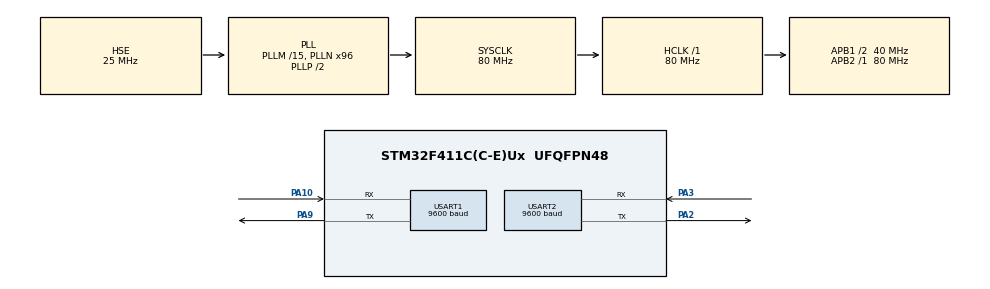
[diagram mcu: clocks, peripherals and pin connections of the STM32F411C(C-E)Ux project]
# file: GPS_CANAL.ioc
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Dma.Request0=USART1_RX
Dma.Request1=USART2_RX
Dma.USART1_RX.0.Direction=DMA_PERIPH_TO_MEMORY
Dma.USART1_RX.0.FIFOMode=DMA_FIFOMODE_DISABLE
Dma.USART1_RX.0.Instance=DMA2_Stream2
Dma.USART1_RX.0.MemDataAlignment=DMA_MDATAALIGN_BYTE
Dma.USART1_RX.0.MemInc=DMA_MINC_ENABLE
Dma.USART1_RX.0.Mode=DMA_NORMAL
Dma.USART1_RX.0.PeriphDataAlignment=DMA_PDATAALIGN_BYTE
Dma.USART1_RX.0.PeriphInc=DMA_PINC_DISABLE
Dma.USART1_RX.0.Priority=DMA_PRIORITY_LOW
Dma.USART2_RX.1.Direction=DMA_PERIPH_TO_MEMORY
Dma.USART2_RX.1.FIFOMode=DMA_FIFOMODE_DISABLE
Dma.USART2_RX.1.Instance=DMA1_Stream5
Dma.USART2_RX.1.MemDataAlignment=DMA_MDATAALIGN_BYTE
Dma.USART2_RX.1.MemInc=DMA_MINC_ENABLE
Dma.USART2_RX.1.Mode=DMA_NORMAL
Dma.USART2_RX.1.PeriphDataAlignment=DMA_PDATAALIGN_BYTE
Dma.USART2_RX.1.PeriphInc=DMA_PINC_DISABLE
Dma.USART2_RX.1.Priority=DMA_PRIORITY_LOW
Mcu.Family=STM32F4
Mcu.Name=STM32F411C(C-E)Ux
Mcu.Package=UFQFPN48
NVIC.DMA1_Stream5_IRQn=true\:0\:0\:false\:false\:true\:false\:true\:true
NVIC.DMA2_Stream2_IRQn=true\:0\:0\:false\:false\:true\:false\:true\:true
NVIC.PriorityGroup=NVIC_PRIORITYGROUP_4
NVIC.USART1_IRQn=true\:0\:0\:false\:false\:true\:true\:true\:true
NVIC.USART2_IRQn=true\:0\:0\:false\:false\:true\:true\:true\:true
PA10.Mode=Asynchronous
PA10.Signal=USART1_RX
PA2.Mode=Asynchronous
PA2.Signal=USART2_TX
PA3.Mode=Asynchronous
PA3.Signal=USART2_RX
PA9.Mode=Asynchronous
PA9.Signal=USART1_TX
PH0\ -\ OSC_IN.Mode=HSE-External-Oscillator
PH0\ -\ OSC_IN.Signal=RCC_OSC_IN
PH1\ -\ OSC_OUT.Mode=HSE-External-Oscillator
PH1\ -\ OSC_OUT.Signal=RCC_OSC_OUT
ProjectManager.HeapSize=0x200
ProjectManager.StackSize=0x400
ProjectManager.TargetToolchain=STM32CubeIDE
RCC.48MHZClocksFreq_Value=40000000
RCC.AHBFreq_Value=80000000
RCC.APB1CLKDivider=RCC_HCLK_DIV2
RCC.APB1Freq_Value=40000000
RCC.APB1TimFreq_Value=80000000
RCC.APB2Freq_Value=80000000
RCC.APB2TimFreq_Value=80000000
RCC.CortexFreq_Value=80000000
RCC.HCLKFreq_Value=80000000
RCC.HSE_VALUE=25000000
RCC.HSI_VALUE=16000000
RCC.LSE_VALUE=32768
RCC.PLLM=15
RCC.PLLN=96
RCC.PLLSourceVirtual=RCC_PLLSOURCE_HSE
RCC.SYSCLKFreq_VALUE=80000000
RCC.SYSCLKSource=RCC_SYSCLKSOURCE_PLLCLK
RCC.VCOOutputFreq_Value=160000000
USART1.BaudRate=9600
USART1.VirtualMode=VM_ASYNC
USART2.BaudRate=9600
USART2.VirtualMode=VM_ASYNC
board=custom

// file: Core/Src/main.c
/* USER CODE BEGIN Header */
/**
  ******************************************************************************
  * @file           : main.c
  * @brief          : Main program body
  ******************************************************************************
  * @attention
  *
  * Copyright (c) 2025 STMicroelectronics.
  * All rights reserved.
  *
  * This software is licensed under terms that can be found in the LICENSE file
  * in the root directory of this software component.
  * If no LICENSE file comes with this software, it is provided AS-IS.
  *
  ******************************************************************************
  */
/* USER CODE END Header */
#include "main.h"

/* USER CODE BEGIN Includes */
#include "uart.h"
#include "UARTRX.h"
#include "GPS.h"

#include "stdio.h"
#include "stdlib.h"
#include "stdint.h"
#include "string.h"

/* USER CODE END Includes */

UART_HandleTypeDef huart1;
UART_HandleTypeDef huart2;
DMA_HandleTypeDef hdma_usart1_rx;
DMA_HandleTypeDef hdma_usart2_rx;

/* USER CODE BEGIN PV */
char texto[100];
/* USER CODE END PV */

void SystemClock_Config(void);
static void MX_GPIO_Init(void);
static void MX_DMA_Init(void);
static void MX_USART1_UART_Init(void);
static void MX_USART2_UART_Init(void);

int main(void)
{

  /* MCU Configuration--------------------------------------------------------*/

  /* Reset of all peripherals, Initializes the Flash interface and the Systick. */
  HAL_Init();

  /* Configure the system clock */
  SystemClock_Config();

  /* Initialize all configured peripherals */
  MX_GPIO_Init();
  MX_DMA_Init();
  MX_USART1_UART_Init();
  MX_USART2_UART_Init();
  /* USER CODE BEGIN 2 */
  uartx_write_text(&huart1, "INICIANDO\r\n");
  uartRX_it_idle_dma_init(&GPS_UARTRX);
  /* USER CODE END 2 */

  /* Infinite loop */
  /* USER CODE BEGIN WHILE */
  while (1)
  {
	  if (GPS_UARTRX.flag_rx==1)
	  	  	  {

	  		 GPS_RMC();
	  	  		 sprintf(texto,"LAT=%.5f   LON=%.5f\r\n",latitud,longitud);
	  		 uartx_write_text(&huart1,texto);

	  		 sprintf(texto,"A=%u  M=%u  D=%u\r\n",an_gps,mes_gps,dia_gps);
	   	   uartx_write_text(&huart1,texto);

	  		 sprintf(texto,"hor=%u  min=%u  seg=%u\r\n",hor_gps,min_gps,seg_gps);
	  		 uartx_write_text(&huart1,texto);

	  		 sprintf(texto,"vel=%.2f\r\n",gps_vel_kph);
	   		 uartx_write_text(&huart1,texto);

	   		 sprintf(texto,"Rumbo=%.2f\r\n",gps_rumbo);
	  		 uartx_write_text(&huart1,texto);

	  		 sprintf(texto,"devi=%.2f\r\n\r\n",gps_desv_mag);
	  		 uartx_write_text(&huart1,texto);

	  		  GPS_GGA();

	  			 sprintf(texto,"hor=%u  min=%u  seg=%u\r\n",hor_gps,min_gps,seg_gps);
	  			 uartx_write_text(&huart1,texto);

	  			 sprintf(texto,"LAT=%.5f   LON=%.5f\r\n",latitud,longitud);
	  			 uartx_write_text(&huart1,texto);
	  			 sprintf(texto,"MOD=%u  SAT=%u\r\n",gps_modo,gps_satelites);
	  		  uartx_write_text(&huart1,texto);

	  			 sprintf(texto,"hor_di=%.2f   ALTU=%.2f\r\n\r\n",gps_hor_dilu,gps_altura);
	  			 uartx_write_text(&huart1,texto);

	  		  uartRX_DMA_Re_init(&GPS_UARTRX);
	  	  	  }

	  HAL_Delay(600);

    /* USER CODE END WHILE */

  }
}

void SystemClock_Config(void)
{
  RCC_OscInitTypeDef RCC_OscInitStruct = {0};
  RCC_ClkInitTypeDef RCC_ClkInitStruct = {0};

  /** Configure the main internal regulator output voltage
  */
  __HAL_RCC_PWR_CLK_ENABLE();
  __HAL_PWR_VOLTAGESCALING_CONFIG(PWR_REGULATOR_VOLTAGE_SCALE1);

  /** Initializes the RCC Oscillators according to the specified parameters
  * in the RCC_OscInitTypeDef structure.
  */
  RCC_OscInitStruct.OscillatorType = RCC_OSCILLATORTYPE_HSE;
  RCC_OscInitStruct.HSEState = RCC_HSE_ON;
  RCC_OscInitStruct.PLL.PLLState = RCC_PLL_ON;
  RCC_OscInitStruct.PLL.PLLSource = RCC_PLLSOURCE_HSE;
  RCC_OscInitStruct.PLL.PLLM = 15;
  RCC_OscInitStruct.PLL.PLLN = 96;
  RCC_OscInitStruct.PLL.PLLP = RCC_PLLP_DIV2;
  RCC_OscInitStruct.PLL.PLLQ = 4;
  if (HAL_RCC_OscConfig(&RCC_OscInitStruct) != HAL_OK)
  {
    Error_Handler();
  }

  /** Initializes the CPU, AHB and APB buses clocks
  */
  RCC_ClkInitStruct.ClockType = RCC_CLOCKTYPE_HCLK|RCC_CLOCKTYPE_SYSCLK
                              |RCC_CLOCKTYPE_PCLK1|RCC_CLOCKTYPE_PCLK2;
  RCC_ClkInitStruct.SYSCLKSource = RCC_SYSCLKSOURCE_PLLCLK;
  RCC_ClkInitStruct.AHBCLKDivider = RCC_SYSCLK_DIV1;
  RCC_ClkInitStruct.APB1CLKDivider = RCC_HCLK_DIV2;
  RCC_ClkInitStruct.APB2CLKDivider = RCC_HCLK_DIV1;

  if (HAL_RCC_ClockConfig(&RCC_ClkInitStruct, FLASH_LATENCY_2) != HAL_OK)
  {
    Error_Handler();
  }
}

static void MX_USART1_UART_Init(void)
{

  huart1.Instance = USART1;
  huart1.Init.BaudRate = 9600;
  huart1.Init.WordLength = UART_WORDLENGTH_8B;
  huart1.Init.StopBits = UART_STOPBITS_1;
  huart1.Init.Parity = UART_PARITY_NONE;
  huart1.Init.Mode = UART_MODE_TX_RX;
  huart1.Init.HwFlowCtl = UART_HWCONTROL_NONE;
  huart1.Init.OverSampling = UART_OVERSAMPLING_16;
  if (HAL_UART_Init(&huart1) != HAL_OK)
  {
    Error_Handler();
  }

}

static void MX_USART2_UART_Init(void)
{

  huart2.Instance = USART2;
  huart2.Init.BaudRate = 9600;
  huart2.Init.WordLength = UART_WORDLENGTH_8B;
  huart2.Init.StopBits = UART_STOPBITS_1;
  huart2.Init.Parity = UART_PARITY_NONE;
  huart2.Init.Mode = UART_MODE_TX_RX;
  huart2.Init.HwFlowCtl = UART_HWCONTROL_NONE;
  huart2.Init.OverSampling = UART_OVERSAMPLING_16;
  if (HAL_UART_Init(&huart2) != HAL_OK)
  {
    Error_Handler();
  }

}

static void MX_DMA_Init(void)
{

  /* DMA controller clock enable */
  __HAL_RCC_DMA2_CLK_ENABLE();
  __HAL_RCC_DMA1_CLK_ENABLE();

  /* DMA interrupt init */
  /* DMA1_Stream5_IRQn interrupt configuration */
  HAL_NVIC_SetPriority(DMA1_Stream5_IRQn, 0, 0);
  HAL_NVIC_EnableIRQ(DMA1_Stream5_IRQn);
  /* DMA2_Stream2_IRQn interrupt configuration */
  HAL_NVIC_SetPriority(DMA2_Stream2_IRQn, 0, 0);
  HAL_NVIC_EnableIRQ(DMA2_Stream2_IRQn);

}

static void MX_GPIO_Init(void)
{

  /* GPIO Ports Clock Enable */
  __HAL_RCC_GPIOH_CLK_ENABLE();
  __HAL_RCC_GPIOA_CLK_ENABLE();

}

void Error_Handler(void)
{
  __disable_irq();
  while (1)
  {
  }
}
